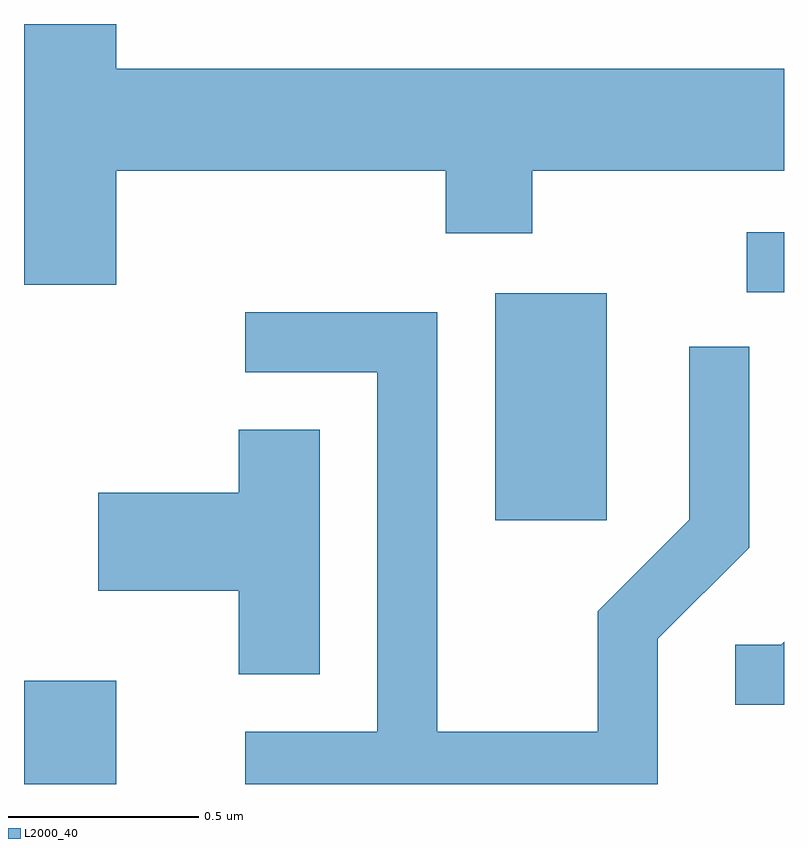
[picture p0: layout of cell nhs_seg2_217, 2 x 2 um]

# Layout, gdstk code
import gdstk
lib = gdstk.Library(unit=1e-6, precision=1e-09)
def R(c, l, rs):  # rectangles x0, y0, x1, y1
    for r in rs: c.add(gdstk.rectangle(r[:2], r[2:], *l))
def P(c, l, *ps):  # polygons
    for p in ps: c.add(gdstk.Polygon(p, *l))
L2000_40 = (2000, 40)

nhs_seg2_217 = lib.new_cell('nhs_seg2_217')
R(nhs_seg2_217, L2000_40, [(186.611,1057.802,186.854,1058.074), (187.851,1058.496,188.144,1059.094), (188.513,1059.096,188.611,1059.254)])
P(nhs_seg2_217, L2000_40, [(186.854,1059.416),(187.721,1059.416),(187.721,1059.251),(187.949,1059.251),(187.949,1059.416),(188.611,1059.416),(188.611,1059.684),(186.854,1059.684),(186.854,1059.802),(186.611,1059.802),(186.611,1059.116),(186.854,1059.116)],
  [(188.279,1058.184),(188.519,1058.424),(188.519,1058.953),(188.361,1058.953),(188.361,1058.497),(188.121,1058.257),(188.121,1057.939),(187.699,1057.939),(187.699,1059.044),(187.193,1059.044),(187.193,1058.886),(187.541,1058.886),(187.541,1057.939),(187.193,1057.939),(187.193,1057.802),(188.279,1057.802)],
  [(187.389,1058.734),(187.176,1058.734),(187.176,1058.569),(186.806,1058.569),(186.806,1058.311),(187.176,1058.311),(187.176,1058.091),(187.389,1058.091)],
  [(188.611,1058.176),(188.604,1058.169),(188.483,1058.169),(188.483,1058.011),(188.611,1058.011)])

lib.write_gds('nhs_seg2_217.gds')
